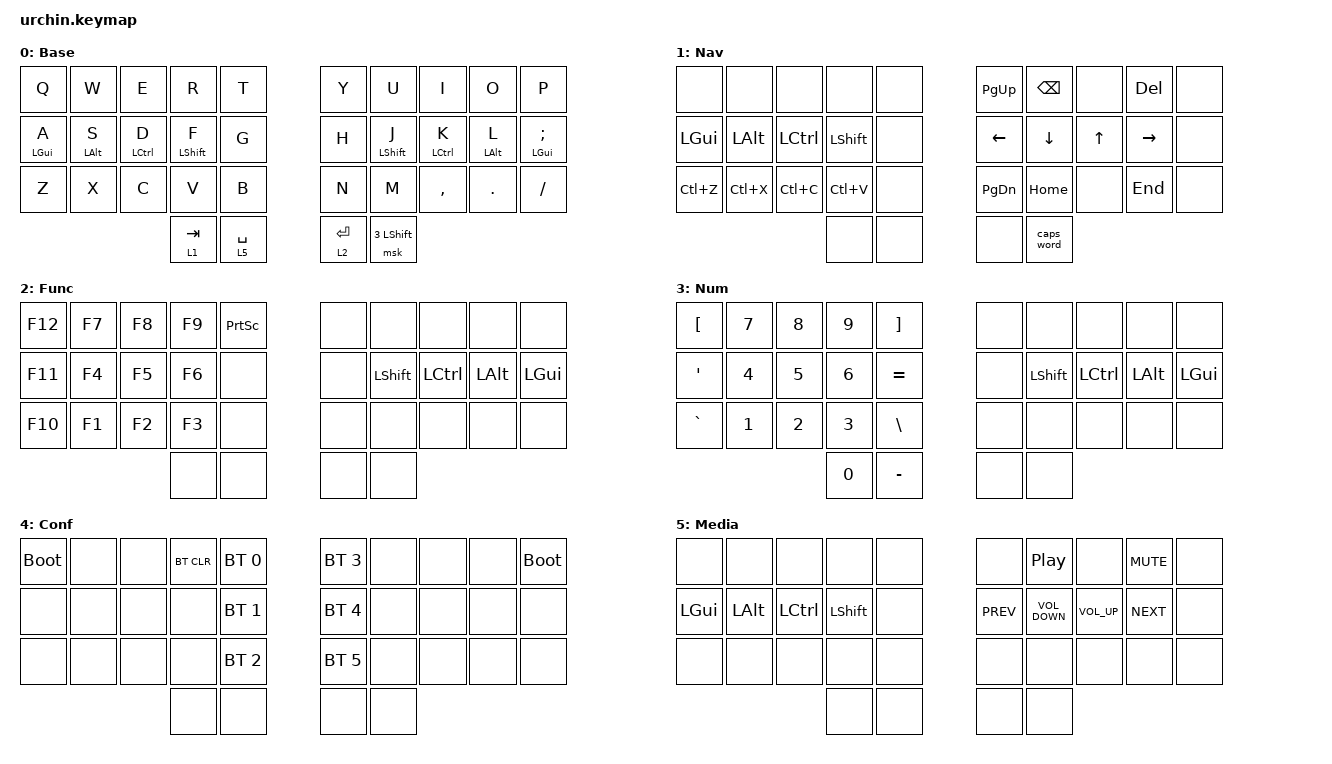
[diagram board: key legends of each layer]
/*
 * Copyright (c) 2020 duckyb
 *
 * SPDX-License-Identifier: MIT
 */

#include <behaviors.dtsi>
#include <dt-bindings/zmk/keys.h>
#include <dt-bindings/zmk/bt.h>
#include <dt-bindings/zmk/outputs.h>

#define ZMK_POINTING_DEFAULT_MOVE_VAL 1500
#define ZMK_POINTING_DEFAULT_SCRL_VAL 20

#include <dt-bindings/zmk/pointing.h>

#include "helper.h"

// Layer definitions
#define BASE 0
#define NAV 1
#define FUNC 2
#define NUM 3
#define CONFIG 4
#define MEDIA 5
// -----------------

#define QUICK_TAP_MS 175

&sk {
	release-after-ms = <900>;
	quick-release;
};

&lt {
	flavor = "balanced";
	tapping-term-ms = <200>;
	quick-tap-ms = <QUICK_TAP_MS>;
};

#define MAKE_HRM(NAME, HOLD, TAP, TRIGGER_POS) \
	ZMK_HOLD_TAP(NAME, \
		bindings = <HOLD>, <TAP>; \
		flavor = "balanced"; \
		quick-tap-ms = <QUICK_TAP_MS>; \
		tapping-term-ms = <280>; \
        require-prior-idle-ms = <150>; \
		hold-trigger-on-release; \
		hold-trigger-key-positions = <TRIGGER_POS>; \
	)
MAKE_HRM(hml, &kp, &kp, KEYS_R THUMBS)
MAKE_HRM(hmr, &kp, &kp, KEYS_L THUMBS)

/* #define LAYER_SHIFT &tdlt 0 0 */
/* ZMK_TAP_DANCE(tdlt, \ */
/* 	bindings = <&msk 3 LSHFT>, <&caps_word>; \ */
/* 	tapping-term-ms = <200>; \ */
/* ) */
ZMK_HOLD_TAP(msk, \
	bindings = <&mo>, <&sk>; \
	flavor = "balanced"; \
	tapping-term-ms = <200>; \
)

/ {
	combos {
		compatible = "zmk,combos";
		// Z+X
		combo_escape {
			timeout-ms = <100>;
			key-positions = <20 21>;
			bindings = <&kp ESC>;
		};
		// both left thumb keys
		combo_settings {
			timeout-ms = <200>;
			key-positions = <30 31>;
			bindings = <&mo CONFIG>;
		};
		// both left thumb keys
		/* combo_media { */
		/* 	timeout-ms = <200>; */
		/* 	key-positions = <32 33>; */
		/* 	bindings = <&mo MEDIA>; */
		/* }; */
	};

	keymap {
		compatible = "zmk,keymap";
		// Base alpha layer
		default_layer {
			label = "Base";
			bindings = <
			&kp Q       &kp W       &kp E        &kp R        &kp T          &kp Y       &kp U        &kp I        &kp O       &kp P 
			&hml LGUI A &hml LALT S &hml LCTRL D &hml LSHFT F &kp G          &kp H       &hmr LSHFT J &hmr LCTRL K &hmr LALT L &hmr LGUI SEMI
			&kp Z       &kp X       &kp C        &kp V        &kp B          &kp N       &kp M        &kp COMMA    &kp DOT     &kp FSLH
							                  	 &lt 1 TAB    &lt 5 SPACE    &lt 2 ENTER &msk 3 LSHFT
			>;
		};

		// Navigation
		nav_layer {
			label = "Nav";
			bindings = <
			&none     &none     &none     &none      &none		   &kp PG_UP  &kp BSPC &none     &kp DEL   &none
			&kp LGUI  &kp LALT  &kp LCTRL &kp LSHIFT &none 		   &kp LEFT   &kp DOWN &kp UP    &kp RIGHT &none
			&kp LC(Z) &kp LC(X) &kp LC(C) &kp LC(V)  &none         &kp PG_DN  &kp HOME &none     &kp END   &none
										  &none      &none    	   &none      &caps_word 
			>;
		};

		// Function keys with modifiers
		func_layer {
			label = "Func";
			bindings = <
			&kp F12 &kp F7 &kp F8 &kp F9 &kp PSCRN         &none &none      &none     &none    &none
			&kp F11 &kp F4 &kp F5 &kp F6 &none             &none &kp LSHIFT &kp LCTRL &kp LALT &kp LGUI
			&kp F10 &kp F1 &kp F2 &kp F3 &none     		   &none &none      &none     &none    &none
							      &none  &none             &none &none  
			>;
		};

		// Numbers and symbols
		num_layer {
			label = "Num";
			bindings = <
			&kp LBKT  &kp N7 &kp N8 &kp N9 &kp RBKT             &none &none      &none     &none    &none
			&kp SQT   &kp N4 &kp N5 &kp N6 &kp EQUAL   			&none &kp LSHIFT &kp LCTRL &kp LALT &kp LGUI
			&kp GRAVE &kp N1 &kp N2 &kp N3 &kp BSLH     		&none &none      &none     &none    &none
							        &kp N0 &kp MINUS            &none &none  
			>;
		};

		// Used to change the keyboard's settings.
		config_layer {
			label = "Conf";
			bindings = <
			&bootloader &none &none &bt BT_CLR &bt BT_SEL 0         &bt BT_SEL 3 &none &none &none &bootloader 
			&none       &none &none &none      &bt BT_SEL 1   	    &bt BT_SEL 4 &none &none &none &none
			&none       &none &none &none      &bt BT_SEL 2         &bt BT_SEL 5 &none &none &none &none
									&none      &none                &none        &none 
			>;
		};

		// Media controls
		media_layer {
			label = "Media";
			bindings = <
			&none     &none     &none     &none       &none			&none      &kp C_PP          &none           &kp C_MUTE &none
			&kp LGUI  &kp LALT  &kp LCTRL &kp LSHIFT  &none 		&kp C_PREV &kp C_VOLUME_DOWN &kp C_VOLUME_UP &kp C_NEXT &none
			&none     &none     &none     &none       &none			&none      &none             &none           &none      &none
										  &none       &none    		&none      &none
			>;
		};
	};
};
